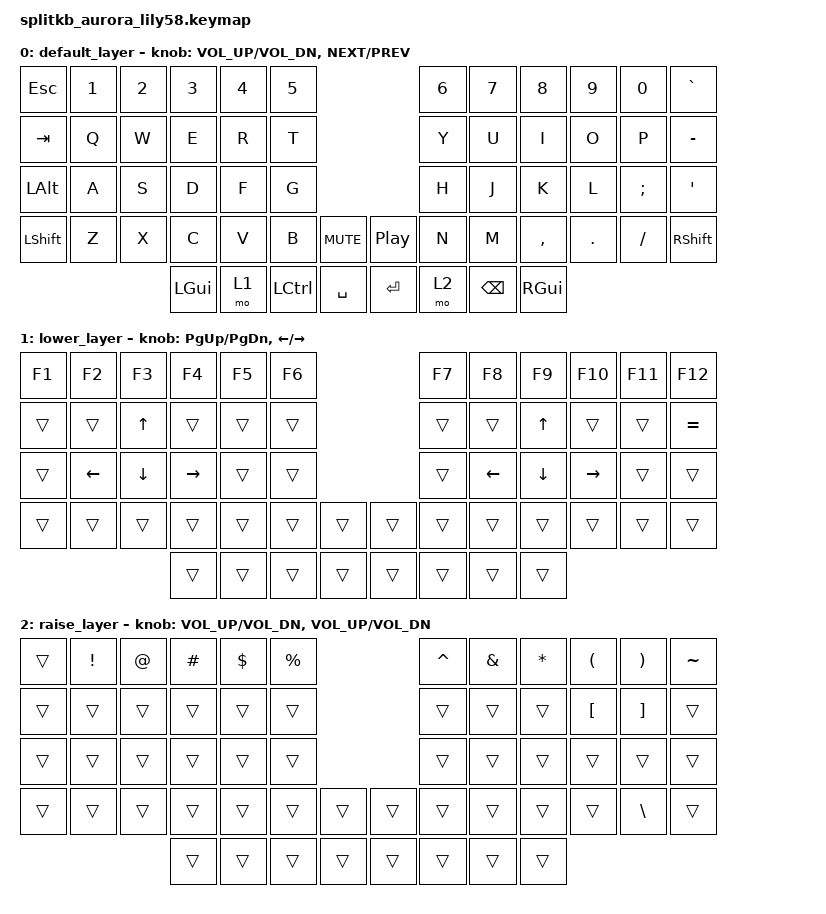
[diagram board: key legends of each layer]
/*
 * Copyright (c) 2022 The ZMK Contributors
 *
 * SPDX-License-Identifier: MIT
 */

#include <behaviors.dtsi>
#include <dt-bindings/zmk/keys.h>
#include <dt-bindings/zmk/bt.h>
#include <dt-bindings/zmk/ext_power.h>

&left_encoder {
    compatible = "alps,ec11";
    steps = <80>;
};

&right_encoder {
    compatible = "alps,ec11";
    steps = <80>;
};

&sensors {
    compatible = "zmk,keymap-sensors";
    sensors = <&left_encoder &right_encoder>;
    triggers-per-rotation = <20>;
};

/ {
    keymap {
        compatible = "zmk,keymap";

        default_layer {
// ------------------------------------------------------------------------------------------------------------
// |  ESC  |  1  |  2  |  3   |  4   |  5   |                   |  6   |  7    |  8    |  9   |   0   |   `   |
// |  TAB  |  Q  |  W  |  E   |  R   |  T   |                   |  Y   |  U    |  I    |  O   |   P   |   -   |
// |  ALT  |  A  |  S  |  D   |  F   |  G   |                   |  H   |  J    |  K    |  L   |   ;   |   '   |
// | SHIFT |  Z  |  X  |  C   |  V   |  B   |  MUTE  |  |  PLAY |  N   |  M    |  ,    |  .   |   /   | SHIFT |
//                     | GUI  |LOWER | CTRL |  SPACE |  | ENTER | RAISE| BSPC  | GUI   |
            bindings = <
&kp ESC    &kp N1  &kp N2  &kp N3  &kp N4  &kp N5                      &kp N6  &kp N7  &kp N8     &kp N9   &kp N0    &kp GRAVE
&kp TAB    &kp Q   &kp W   &kp E   &kp R   &kp T                       &kp Y   &kp U   &kp I      &kp O    &kp P     &kp MINUS
&kp LALT   &kp A   &kp S   &kp D   &kp F   &kp G                       &kp H   &kp J   &kp K      &kp L    &kp SEMI  &kp SQT
&kp LSHFT  &kp Z   &kp X   &kp C   &kp V   &kp B  &kp C_MUTE &kp C_PP  &kp N   &kp M   &kp COMMA  &kp DOT  &kp FSLH  &kp RSHFT
                         &kp LGUI  &mo 1  &kp LCTRL  &kp SPACE  &kp RET  &mo 2  &kp BSPC  &kp RGUI
            >;

            sensor-bindings = <&inc_dec_kp C_VOL_UP C_VOL_DN>,
                              <&inc_dec_kp C_NEXT C_PREV>;
        };

        lower_layer {
// ------------------------------------------------------------------------------------------------------------
// |  F1   |  F2 |  F3 |  F4  |  F5  |  F6  |                   |  F7  |  F8   |  F9   |  F10 |  F11  |  F12  |
// |       |     |  ^  |      |      |      |                   |      |       |   ^   |      |       |   =   |
// |       | <-  |  v  |  ->  |      |      |                   |      |  <-   |   v   |  ->  |       |       |
// |       |     |     |      |      |      |        |  |       |      |       |       |      |       |       |
//                     |      |      |      |        |  |       |      |       |       |
            bindings = <
&kp F1  &kp F2    &kp F3    &kp F4     &kp F5  &kp F6                  &kp F7  &kp F8    &kp F9    &kp F10    &kp F11  &kp F12
&trans  &trans    &kp UP    &trans     &trans  &trans                  &trans  &trans    &kp UP    &trans     &trans   &kp EQUAL
&trans  &kp LEFT  &kp DOWN  &kp RIGHT  &trans  &trans                  &trans  &kp LEFT  &kp DOWN  &kp RIGHT  &trans   &trans
&trans  &trans    &trans    &trans     &trans  &trans  &trans  &trans  &trans  &trans    &trans    &trans     &trans   &trans
                            &trans     &trans  &trans  &trans  &trans  &trans  &trans    &trans
            >;

            sensor-bindings = <&inc_dec_kp PG_UP PG_DN>,
                              <&inc_dec_kp LEFT RIGHT>;
        };

        raise_layer {
// ------------------------------------------------------------------------------------------------------------
// |       |     |     |      |      |      |                   |      |       |       |      |       |       |
// |       |     |     |      |      |      |                   |      |       |       |      |       |       |
// |       |     |     |      |      |      |                   |      |       |       |      |       |       |
// |       |     |     |      |      |      |        |  |       |      |       |       |      |       |       |
//                     |      |      |      |        |  |       |      |       |       |
            bindings = <
&trans  &kp EXCL  &kp AT  &kp HASH  &kp DLLR  &kp PRCNT                     &kp CARET  &kp AMPS  &kp STAR  &kp LPAR  &kp RPAR  &kp TILDE
&trans  &trans    &trans  &trans    &trans    &trans                        &trans     &trans    &trans    &kp LBKT  &kp RBKT  &trans
&trans  &trans    &trans  &trans    &trans    &trans                        &trans     &trans    &trans    &trans    &trans    &trans
&trans  &trans    &trans  &trans    &trans    &trans     &trans   &trans    &trans     &trans    &trans    &trans    &kp BSLH  &trans
                          &trans    &trans    &trans     &trans   &trans    &trans     &trans    &trans
            >;

            sensor-bindings = <&inc_dec_kp C_VOL_UP C_VOL_DN>,
                              <&inc_dec_kp C_VOL_UP C_VOL_DN>;
        };
    };
};
